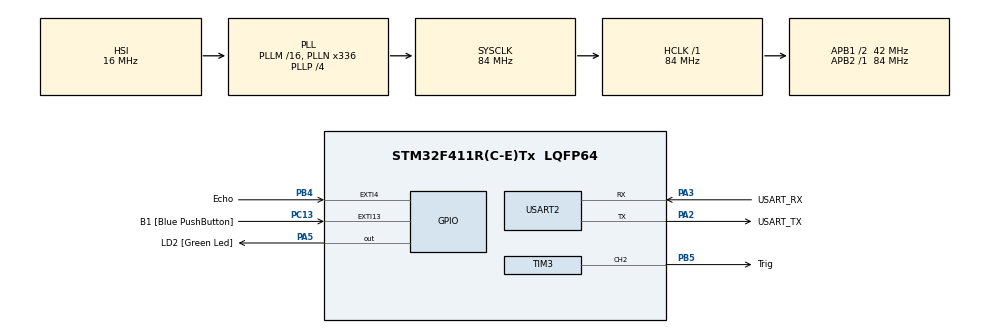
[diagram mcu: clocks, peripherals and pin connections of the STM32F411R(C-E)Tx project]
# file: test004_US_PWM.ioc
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Mcu.Family=STM32F4
Mcu.Name=STM32F411R(C-E)Tx
Mcu.Package=LQFP64
NVIC.EXTI4_IRQn=true\:0\:0\:false\:false\:true\:true\:true\:true
NVIC.PriorityGroup=NVIC_PRIORITYGROUP_0
PA13.GPIO_Label=TMS
PA13.Mode=Serial_Wire
PA13.Signal=SYS_JTMS-SWDIO
PA14.GPIO_Label=TCK
PA14.Mode=Serial_Wire
PA14.Signal=SYS_JTCK-SWCLK
PA2.GPIO_Label=USART_TX
PA2.Mode=Asynchronous
PA2.Signal=USART2_TX
PA3.GPIO_Label=USART_RX
PA3.Mode=Asynchronous
PA3.Signal=USART2_RX
PA5.GPIO_Label=LD2 [Green Led]
PA5.Signal=GPIO_Output
PB3.GPIO_Label=SWO
PB3.Signal=SYS_JTDO-SWO
PB4.GPIO_Label=Echo
PB4.GPIO_ModeDefaultEXTI=GPIO_MODE_IT_RISING_FALLING
PB4.Signal=GPXTI4
PB5.GPIO_Label=Trig
PB5.Signal=S_TIM3_CH2
PC13-ANTI_TAMP.GPIO_Label=B1 [Blue PushButton]
PC13-ANTI_TAMP.GPIO_ModeDefaultEXTI=GPIO_MODE_IT_FALLING
PC13-ANTI_TAMP.Signal=GPXTI13
PC14-OSC32_IN.Mode=LSE-External-Oscillator
PC14-OSC32_IN.Signal=RCC_OSC32_IN
PC15-OSC32_OUT.Mode=LSE-External-Oscillator
PC15-OSC32_OUT.Signal=RCC_OSC32_OUT
PH0\ -\ OSC_IN.Mode=HSE-External-Clock-Source
PH0\ -\ OSC_IN.Signal=RCC_OSC_IN
PH1\ -\ OSC_OUT.Mode=HSE-External-Clock-Source
PH1\ -\ OSC_OUT.Signal=RCC_OSC_OUT
ProjectManager.HeapSize=0x200
ProjectManager.StackSize=0x400
ProjectManager.TargetToolchain=STM32CubeIDE
RCC.48MHZClocksFreq_Value=84000000
RCC.AHBFreq_Value=84000000
RCC.APB1CLKDivider=RCC_HCLK_DIV2
RCC.APB1Freq_Value=42000000
RCC.APB1TimFreq_Value=84000000
RCC.APB2Freq_Value=84000000
RCC.APB2TimFreq_Value=84000000
RCC.CortexFreq_Value=84000000
RCC.FLatency-AdvancedSettings=FLASH_LATENCY_2
RCC.HCLKFreq_Value=84000000
RCC.HSE_VALUE=8000000
RCC.HSI_VALUE=16000000
RCC.PLLN=336
RCC.PLLP=RCC_PLLP_DIV4
RCC.SYSCLKFreq_VALUE=84000000
RCC.SYSCLKSource=RCC_SYSCLKSOURCE_PLLCLK
RCC.VCOOutputFreq_Value=336000000
SH.S_TIM3_CH2.0=TIM3_CH2,PWM Generation2 CH2
TIM3.Channel-PWM\ Generation2\ CH2=TIM_CHANNEL_2
TIM3.Period=20000-1
TIM3.Prescaler=280-1
TIM3.Pulse-PWM\ Generation2\ CH2=6
TIM5.Prescaler=84-1
USART2.VirtualMode=VM_ASYNC
VP_TIM5_VS_ClockSourceINT.Mode=Internal
board=NUCLEO-F411RE

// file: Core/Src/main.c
/* USER CODE BEGIN Header */
/**
  ******************************************************************************
  * @file           : main.c
  * @brief          : Main program body
  ******************************************************************************
  * @attention
  *
  * Copyright (c) 2024 STMicroelectronics.
  * All rights reserved.
  *
  * This software is licensed under terms that can be found in the LICENSE file
  * in the root directory of this software component.
  * If no LICENSE file comes with this software, it is provided AS-IS.
  *
  ******************************************************************************
  */
/* USER CODE END Header */
#include "main.h"

TIM_HandleTypeDef htim3;
TIM_HandleTypeDef htim5;

UART_HandleTypeDef huart2;

void SystemClock_Config(void);
static void MX_GPIO_Init(void);
static void MX_USART2_UART_Init(void);
static void MX_TIM3_Init(void);
static void MX_TIM5_Init(void);

/* USER CODE BEGIN 0 */
int ts=0;//,t2=0;
double dist = 0.0;

void HAL_GPIO_EXTI_Callback(uint16_t GPIO_Pin)
{
	int te = htim5.Instance->CNT;
	if(GPIO_Pin == Echo_Pin)
	{
		if(HAL_GPIO_ReadPin(Echo_GPIO_Port,Echo_Pin) == 1) ts = te;
		else dist = (te - ts) * 0.000170;
	}
}

/* USER CODE END 0 */

int main(void)
{

  /* MCU Configuration--------------------------------------------------------*/

  /* Reset of all peripherals, Initializes the Flash interface and the Systick. */
  HAL_Init();

  /* Configure the system clock */
  SystemClock_Config();

  /* Initialize all configured peripherals */
  MX_GPIO_Init();
  MX_USART2_UART_Init();
  MX_TIM3_Init();
  MX_TIM5_Init();
  /* USER CODE BEGIN 2 */
  ProgramStart("UltraSonic using Interrupt");
  HAL_TIM_Base_Start(&htim5);
  HAL_TIM_PWM_Start(&htim3, TIM_CHANNEL_2);
  //htim3.Instance->CCR2 = 3; // channel select
  /* USER CODE END 2 */

  /* Infinite loop */
  /* USER CODE BEGIN WHILE */
  printf("\033[?25l\n");
  while (1)
  {
    /* USER CODE END WHILE */

    /* USER CODE BEGIN 3 */
	  //double d = Distance();
	  //double d = dist;
	  //printf("\033[10;10HDistance : %6.2f cm      \033[9;10H \033[?25l\r\n", dist);
	  //printf("\033[?25l");  cursor off
	  //printf("\033[?25h"); cursor on
	  //printf("\033[A"); cursor up
	  //printf("\033#3"); double size string upper half
	  //printf("\033#4"); double size string lower half
	  //printf("\033[10;10HDistance : %6.2f cm      \r\n", dist);
	  //printf("\033[10;10H\033#3Distance : %.2f cm    ", dist);
	  //printf("\033[11;10H\033#4Distance : %.2f cm    \033[9;10H\n", dist);

	  double d = dist *100;
	  printf("\033[10;10H\033#3Distance : %6.2f cm    ",d);
	  printf("\033[11;10H\033#4Distance : %6.2f cm    \n",d);
	  HAL_Delay(100);
  }
  /* USER CODE END 3 */
}

void SystemClock_Config(void)
{
  RCC_OscInitTypeDef RCC_OscInitStruct = {0};
  RCC_ClkInitTypeDef RCC_ClkInitStruct = {0};

  /** Configure the main internal regulator output voltage
  */
  __HAL_RCC_PWR_CLK_ENABLE();
  __HAL_PWR_VOLTAGESCALING_CONFIG(PWR_REGULATOR_VOLTAGE_SCALE1);

  /** Initializes the RCC Oscillators according to the specified parameters
  * in the RCC_OscInitTypeDef structure.
  */
  RCC_OscInitStruct.OscillatorType = RCC_OSCILLATORTYPE_HSI;
  RCC_OscInitStruct.HSIState = RCC_HSI_ON;
  RCC_OscInitStruct.HSICalibrationValue = RCC_HSICALIBRATION_DEFAULT;
  RCC_OscInitStruct.PLL.PLLState = RCC_PLL_ON;
  RCC_OscInitStruct.PLL.PLLSource = RCC_PLLSOURCE_HSI;
  RCC_OscInitStruct.PLL.PLLM = 16;
  RCC_OscInitStruct.PLL.PLLN = 336;
  RCC_OscInitStruct.PLL.PLLP = RCC_PLLP_DIV4;
  RCC_OscInitStruct.PLL.PLLQ = 4;
  if (HAL_RCC_OscConfig(&RCC_OscInitStruct) != HAL_OK)
  {
    Error_Handler();
  }

  /** Initializes the CPU, AHB and APB buses clocks
  */
  RCC_ClkInitStruct.ClockType = RCC_CLOCKTYPE_HCLK|RCC_CLOCKTYPE_SYSCLK
                              |RCC_CLOCKTYPE_PCLK1|RCC_CLOCKTYPE_PCLK2;
  RCC_ClkInitStruct.SYSCLKSource = RCC_SYSCLKSOURCE_PLLCLK;
  RCC_ClkInitStruct.AHBCLKDivider = RCC_SYSCLK_DIV1;
  RCC_ClkInitStruct.APB1CLKDivider = RCC_HCLK_DIV2;
  RCC_ClkInitStruct.APB2CLKDivider = RCC_HCLK_DIV1;

  if (HAL_RCC_ClockConfig(&RCC_ClkInitStruct, FLASH_LATENCY_2) != HAL_OK)
  {
    Error_Handler();
  }
}

static void MX_TIM3_Init(void)
{

  TIM_MasterConfigTypeDef sMasterConfig = {0};
  TIM_OC_InitTypeDef sConfigOC = {0};

  htim3.Instance = TIM3;
  htim3.Init.Prescaler = 280-1;
  htim3.Init.CounterMode = TIM_COUNTERMODE_UP;
  htim3.Init.Period = 20000-1;
  htim3.Init.ClockDivision = TIM_CLOCKDIVISION_DIV1;
  htim3.Init.AutoReloadPreload = TIM_AUTORELOAD_PRELOAD_DISABLE;
  if (HAL_TIM_PWM_Init(&htim3) != HAL_OK)
  {
    Error_Handler();
  }
  sMasterConfig.MasterOutputTrigger = TIM_TRGO_RESET;
  sMasterConfig.MasterSlaveMode = TIM_MASTERSLAVEMODE_DISABLE;
  if (HAL_TIMEx_MasterConfigSynchronization(&htim3, &sMasterConfig) != HAL_OK)
  {
    Error_Handler();
  }
  sConfigOC.OCMode = TIM_OCMODE_PWM1;
  sConfigOC.Pulse = 6;
  sConfigOC.OCPolarity = TIM_OCPOLARITY_HIGH;
  sConfigOC.OCFastMode = TIM_OCFAST_DISABLE;
  if (HAL_TIM_PWM_ConfigChannel(&htim3, &sConfigOC, TIM_CHANNEL_2) != HAL_OK)
  {
    Error_Handler();
  }
  HAL_TIM_MspPostInit(&htim3);

}

static void MX_TIM5_Init(void)
{

  TIM_ClockConfigTypeDef sClockSourceConfig = {0};
  TIM_MasterConfigTypeDef sMasterConfig = {0};

  htim5.Instance = TIM5;
  htim5.Init.Prescaler = 84-1;
  htim5.Init.CounterMode = TIM_COUNTERMODE_UP;
  htim5.Init.Period = 4294967295;
  htim5.Init.ClockDivision = TIM_CLOCKDIVISION_DIV1;
  htim5.Init.AutoReloadPreload = TIM_AUTORELOAD_PRELOAD_DISABLE;
  if (HAL_TIM_Base_Init(&htim5) != HAL_OK)
  {
    Error_Handler();
  }
  sClockSourceConfig.ClockSource = TIM_CLOCKSOURCE_INTERNAL;
  if (HAL_TIM_ConfigClockSource(&htim5, &sClockSourceConfig) != HAL_OK)
  {
    Error_Handler();
  }
  sMasterConfig.MasterOutputTrigger = TIM_TRGO_RESET;
  sMasterConfig.MasterSlaveMode = TIM_MASTERSLAVEMODE_DISABLE;
  if (HAL_TIMEx_MasterConfigSynchronization(&htim5, &sMasterConfig) != HAL_OK)
  {
    Error_Handler();
  }

}

static void MX_USART2_UART_Init(void)
{

  huart2.Instance = USART2;
  huart2.Init.BaudRate = 115200;
  huart2.Init.WordLength = UART_WORDLENGTH_8B;
  huart2.Init.StopBits = UART_STOPBITS_1;
  huart2.Init.Parity = UART_PARITY_NONE;
  huart2.Init.Mode = UART_MODE_TX_RX;
  huart2.Init.HwFlowCtl = UART_HWCONTROL_NONE;
  huart2.Init.OverSampling = UART_OVERSAMPLING_16;
  if (HAL_UART_Init(&huart2) != HAL_OK)
  {
    Error_Handler();
  }

}

static void MX_GPIO_Init(void)
{
  GPIO_InitTypeDef GPIO_InitStruct = {0};

  /* GPIO Ports Clock Enable */
  __HAL_RCC_GPIOC_CLK_ENABLE();
  __HAL_RCC_GPIOH_CLK_ENABLE();
  __HAL_RCC_GPIOA_CLK_ENABLE();
  __HAL_RCC_GPIOB_CLK_ENABLE();

  /*Configure GPIO pin Output Level */
  HAL_GPIO_WritePin(LD2_GPIO_Port, LD2_Pin, GPIO_PIN_RESET);

  /*Configure GPIO pin : B1_Pin */
  GPIO_InitStruct.Pin = B1_Pin;
  GPIO_InitStruct.Mode = GPIO_MODE_IT_FALLING;
  GPIO_InitStruct.Pull = GPIO_NOPULL;
  HAL_GPIO_Init(B1_GPIO_Port, &GPIO_InitStruct);

  /*Configure GPIO pin : LD2_Pin */
  GPIO_InitStruct.Pin = LD2_Pin;
  GPIO_InitStruct.Mode = GPIO_MODE_OUTPUT_PP;
  GPIO_InitStruct.Pull = GPIO_NOPULL;
  GPIO_InitStruct.Speed = GPIO_SPEED_FREQ_LOW;
  HAL_GPIO_Init(LD2_GPIO_Port, &GPIO_InitStruct);

  /*Configure GPIO pin : Echo_Pin */
  GPIO_InitStruct.Pin = Echo_Pin;
  GPIO_InitStruct.Mode = GPIO_MODE_IT_RISING_FALLING;
  GPIO_InitStruct.Pull = GPIO_NOPULL;
  HAL_GPIO_Init(Echo_GPIO_Port, &GPIO_InitStruct);

  /* EXTI interrupt init*/
  HAL_NVIC_SetPriority(EXTI4_IRQn, 0, 0);
  HAL_NVIC_EnableIRQ(EXTI4_IRQn);

}

void Error_Handler(void)
{
  __disable_irq();
  while (1)
  {
  }
}
